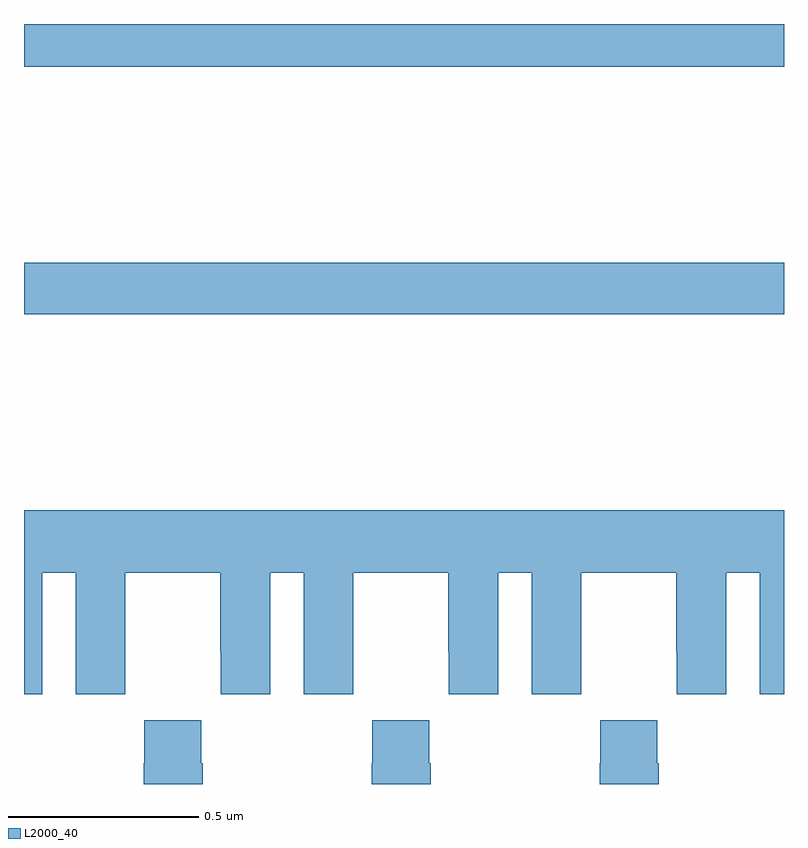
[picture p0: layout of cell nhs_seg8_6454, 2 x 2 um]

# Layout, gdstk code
import gdstk
lib = gdstk.Library(unit=1e-6, precision=1e-09)
def R(c, l, rs):  # rectangles x0, y0, x1, y1
    for r in rs: c.add(gdstk.rectangle(r[:2], r[2:], *l))
def P(c, l, *ps):  # polygons
    for p in ps: c.add(gdstk.Polygon(p, *l))
L2000_40 = (2000, 40)

nhs_seg8_6454 = lib.new_cell('nhs_seg8_6454')
R(nhs_seg8_6454, L2000_40, [(196,1161.136,198,1161.272), (196,1161.788,198,1161.9)])
P(nhs_seg8_6454, L2000_40, [(196.048,1160.456),(196.136,1160.456),(196.136,1160.136),(196.266,1160.136),(196.266,1160.248),(196.267,1160.248),(196.267,1160.456),(196.517,1160.456),(196.517,1160.248),(196.518,1160.248),(196.518,1160.136),(196.648,1160.136),(196.648,1160.456),(196.736,1160.456),(196.736,1160.136),(196.866,1160.136),(196.866,1160.248),(196.867,1160.248),(196.867,1160.456),(197.117,1160.456),(197.117,1160.248),(197.118,1160.248),(197.118,1160.136),(197.248,1160.136),(197.248,1160.456),(197.336,1160.456),(197.336,1160.136),(197.466,1160.136),(197.466,1160.248),(197.467,1160.248),(197.467,1160.456),(197.717,1160.456),(197.717,1160.248),(197.718,1160.248),(197.718,1160.136),(197.848,1160.136),(197.848,1160.456),(197.936,1160.456),(197.936,1160.136),(198,1160.136),(198,1160.62),(196,1160.62),(196,1160.136),(196.048,1160.136)],
  [(197.67,1159.955),(197.667,1159.955),(197.667,1160.068),(197.517,1160.068),(197.517,1159.955),(197.515,1159.955),(197.515,1159.9),(197.67,1159.9)],
  [(197.07,1159.955),(197.067,1159.955),(197.067,1160.068),(196.917,1160.068),(196.917,1159.955),(196.915,1159.955),(196.915,1159.9),(197.07,1159.9)],
  [(196.47,1159.955),(196.467,1159.955),(196.467,1160.068),(196.317,1160.068),(196.317,1159.955),(196.315,1159.955),(196.315,1159.9),(196.47,1159.9)])

lib.write_gds('nhs_seg8_6454.gds')
